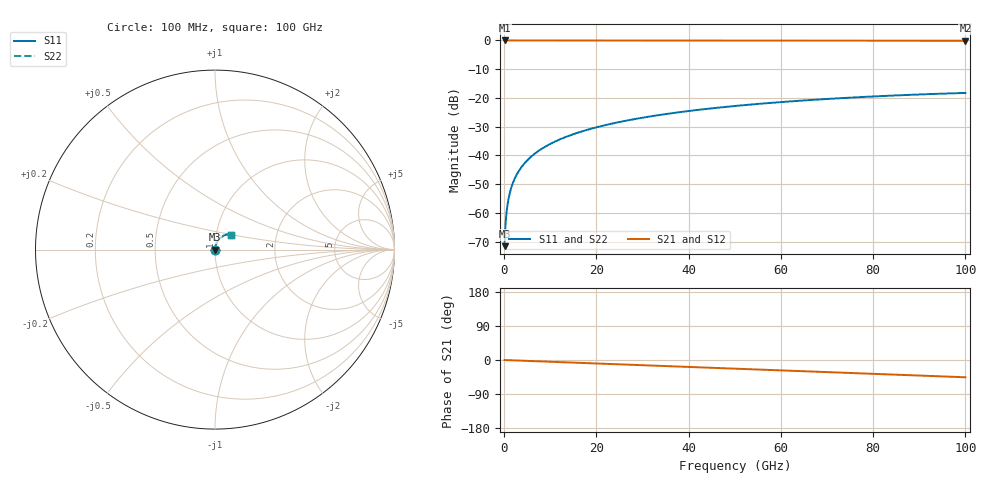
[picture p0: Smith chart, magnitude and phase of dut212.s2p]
! Touchstone file exported from HFSS 2026.1.0
!  File:  C:/ffzhzh/LocalFiles/Ansys_Project_Files/temp_train_TSV_212_1783507665_31944.aedt
!  Generated:  06:48:58 PM Jul  8, 2026
!  Design:  TSV
!  Project:  temp_train_TSV_212_1783507665_31944
! Variables:
!  h_bsmrdl = 2um
!  h_ox = 20um
!  h_rdl = 5um
!  h_sub = 90.9um
!  h_tmrdl = 5um
!  h_tsv = 90.9um
!  h_via = 3um
!  l_bsmrdl = 300um
!  l_sub = 417.66um
!  l_tmrdl = 200um
!  m_sub = 200um
!  pitch = 45.53um
!  r_tsv = 8.83um
!  s_tmrdl = 10um
!  w_bsmrdl = 18um
!  w_sub = 500um
!  w_tmrdl = 12um
!  x_tsv_center1 = 206um
!  x_tsv_center2 = 524um
!  x_tsv_center3 = 736um
!  x_tsv_center4 = 1054um
!  x_tsv_center5 = 1266um
!  x_tsv_center6 = 1584um
# GHz S MA R 50.000000
! Terminal data exported
! Port[1] = TSV1_1_T1
! Port[2] = TSV1_1_T2
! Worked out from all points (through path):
!   1000 points, 100 MHz to 100 GHz, reference 50 ohm
!   highest |S21| = 0.00 dB at 100 MHz (marker M1); lowest = -0.1 dB at 100 GHz (marker M2)
!   group delay of S21, straight-line fit = 1.27 ps
!   lowest |S11| = -71.6 dB at 100 MHz (marker M3), VSWR 1.00, Z = 50 + j0.0202 ohm
!   |S11| at or under -10 dB: start of sweep to end of sweep
!   |S22| runs from -71.6 to -18.3 dB; largest |S21 - S12| = 4.6e-15
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0.1  0.000263 50.0  0.9998 -0.0  0.9998 -0.0  0.000263 50.0
! Gamma 0 0 0 0
! Port Impedance 50 0 50 0
0.4  0.0008085 73.8  0.9998 -0.2  0.9998 -0.2  0.0008085 73.8
0.7  0.001335 77.2  0.9997 -0.3  0.9997 -0.3  0.001335 77.2
0.8  0.001505 77.8  0.9997 -0.4  0.9997 -0.4  0.001505 77.8
1  0.00184 78.8  0.9997 -0.5  0.9997 -0.5  0.00184 78.8
1.3  0.002335 79.8  0.9996 -0.6  0.9996 -0.6  0.002335 79.8
1.7  0.002988 80.7  0.9996 -0.8  0.9996 -0.8  0.002988 80.7
2.3  0.003954 81.4  0.9995 -1.1  0.9995 -1.1  0.003954 81.4
3  0.005064 81.8  0.9994 -1.4  0.9994 -1.4  0.005064 81.8
3.8  0.006317 82.1  0.9993 -1.8  0.9993 -1.8  0.006317 82.1
4.8  0.00787 82.3  0.9992 -2.2  0.9992 -2.2  0.00787 82.3
6  0.009723 82.3  0.9991 -2.8  0.9991 -2.8  0.009723 82.3
8.8  0.01401 81.8  0.9989 -4.1  0.9989 -4.1  0.01401 81.8
12.4  0.01947 80.7  0.9986 -5.7  0.9986 -5.7  0.01947 80.7
16.8  0.02605 79.1  0.9982 -7.7  0.9982 -7.7  0.02605 79.1
24.2  0.03694 76.2  0.9976 -11.1  0.9976 -11.1  0.03694 76.2
33.4  0.05008 72.4  0.9967 -15.3  0.9967 -15.3  0.05008 72.4
41.2  0.0608 69.1  0.9959 -18.9  0.9959 -18.9  0.0608 69.1
50.1  0.07247 65.2  0.9949 -22.9  0.9949 -22.9  0.07247 65.2
66.7  0.0923 57.9  0.9929 -30.5  0.9929 -30.5  0.0923 57.9
83.4  0.1092 50.5  0.9909 -38.1  0.9909 -38.1  0.1092 50.5
100  0.1222 43.1  0.989 -45.6  0.989 -45.6  0.1222 43.1
